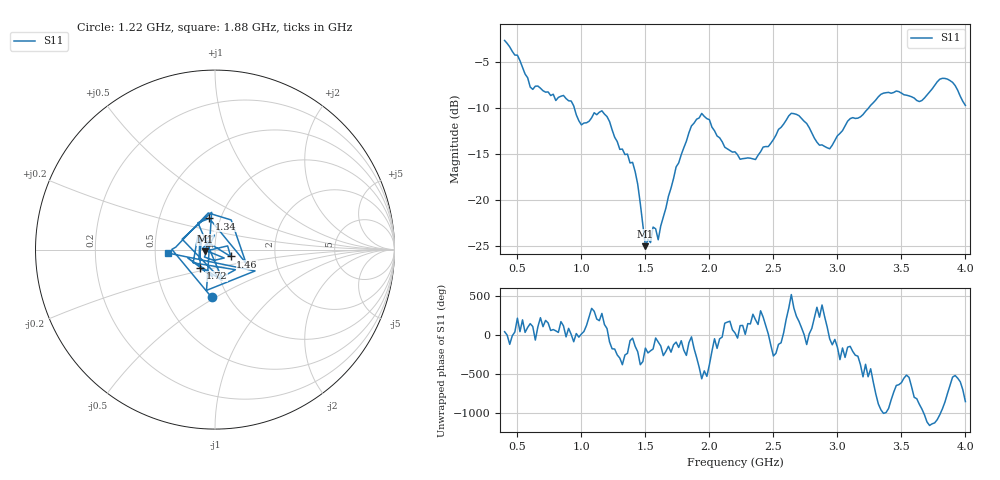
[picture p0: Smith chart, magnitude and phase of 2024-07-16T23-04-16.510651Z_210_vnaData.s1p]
!Created with skrf (http://scikit-rf.org).
# Hz S RI R 50.0
!freq ReS11 ImS11
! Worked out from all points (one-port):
!   181 points, 400 MHz to 4 GHz, reference 50 ohm
!   lowest |S11| = -25.1 dB at 1.5 GHz (marker M1), VSWR 1.12, Z = 44.8 - j0.769 ohm
!   |S11| at or under -10 dB: 944.9 MHz to 3.243 GHz (2.298 GHz wide, 110 % of centre)
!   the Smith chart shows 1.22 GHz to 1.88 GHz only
!   S11 on the Smith chart (normalised r, x): 1.22 GHz: 0.84, -0.48; 1.34 GHz: 0.89, +0.32; 1.46 GHz: 1.19, -0.09; 1.72 GHz: 0.83, -0.17; 1.88 GHz: 0.59, -0.02
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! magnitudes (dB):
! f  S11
! 400 MHz  -2.6
! 600 MHz  -7.7
! 860 MHz  -8.6
! 1 GHz  -11.8
! 1.16 GHz  -10.3
! 1.22 GHz  -11.5
! 1.3 GHz  -14.5
! 1.34 GHz  -15.1
! 1.4 GHz  -15.9
! 1.46 GHz  -20.4
! 1.5 GHz  -25.1
! 1.54 GHz  -24.7
! 1.56 GHz  -23.0
! 1.6 GHz  -24.4
! 1.72 GHz  -17.7
! 1.76 GHz  -16.0
! 1.88 GHz  -11.6
! 1.94 GHz  -10.6
! 2.2 GHz  -14.8
! 2.36 GHz  -15.6
! 2.66 GHz  -10.6
! 2.94 GHz  -14.4
! 3.1 GHz  -11.2
! 3.36 GHz  -8.4
! 3.56 GHz  -8.7
! 3.66 GHz  -9.2
! 3.84 GHz  -6.8
! 4 GHz  -9.7
